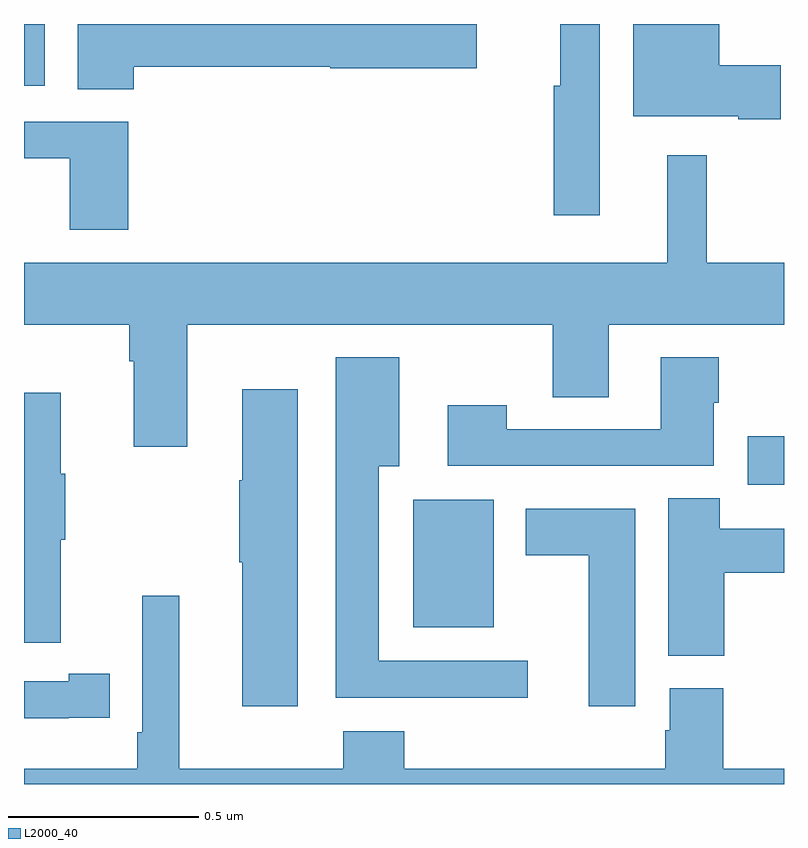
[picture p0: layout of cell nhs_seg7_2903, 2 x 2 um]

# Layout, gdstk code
import gdstk
lib = gdstk.Library(unit=1e-6, precision=1e-09)
def R(c, l, rs):  # rectangles x0, y0, x1, y1
    for r in rs: c.add(gdstk.rectangle(r[:2], r[2:], *l))
def P(c, l, *ps):  # polygons
    for p in ps: c.add(gdstk.Polygon(p, *l))
L2000_40 = (2000, 40)

nhs_seg7_2903 = lib.new_cell('nhs_seg7_2903')
R(nhs_seg7_2903, L2000_40, [(152.024,1074.413,152.236,1074.748), (152.904,1074.788,153,1074.915), (151,1075.838,151.054,1076)])
P(nhs_seg7_2903, L2000_40, [(152.992,1075.892),(152.83,1075.892),(152.83,1076),(152.603,1076),(152.603,1075.757),(152.879,1075.757),(152.879,1075.75),(152.992,1075.75)],
  [(152.515,1076),(152.411,1076),(152.411,1075.838),(152.394,1075.838),(152.394,1075.497),(152.515,1075.497)],
  [(151.289,1075.888),(151.806,1075.888),(151.806,1075.883),(152.191,1075.883),(152.191,1076),(151.142,1076),(151.142,1075.828),(151.289,1075.828)],
  [(151.274,1075.743),(151,1075.743),(151,1075.647),(151.121,1075.647),(151.121,1075.458),(151.274,1075.458)],
  [(151.429,1075.208),(152.392,1075.208),(152.392,1075.018),(152.539,1075.018),(152.539,1075.208),(153,1075.208),(153,1075.372),(152.797,1075.372),(152.797,1075.654),(152.693,1075.654),(152.693,1075.372),(151,1075.372),(151,1075.208),(151.277,1075.208),(151.277,1075.112),(151.289,1075.112),(151.289,1074.888),(151.429,1074.888)],
  [(152.815,1075.003),(152.828,1075.003),(152.828,1075.123),(152.675,1075.123),(152.675,1074.933),(152.271,1074.933),(152.271,1074.997),(152.115,1074.997),(152.115,1074.837),(152.815,1074.837)],
  [(152.326,1074.324),(151.933,1074.324),(151.933,1074.836),(151.987,1074.836),(151.987,1075.123),(151.82,1075.123),(151.82,1074.227),(152.326,1074.227)],
  [(151.72,1075.039),(151.574,1075.039),(151.574,1074.8),(151.567,1074.8),(151.567,1074.583),(151.574,1074.583),(151.574,1074.204),(151.72,1074.204)],
  [(151.097,1074.643),(151.108,1074.643),(151.108,1074.817),(151.097,1074.817),(151.097,1075.03),(151,1075.03),(151,1074.372),(151.097,1074.372)],
  [(152.843,1074.556),(153,1074.556),(153,1074.672),(152.831,1074.672),(152.831,1074.752),(152.696,1074.752),(152.696,1074.337),(152.843,1074.337)],
  [(152.608,1074.724),(152.321,1074.724),(152.321,1074.602),(152.486,1074.602),(152.486,1074.204),(152.608,1074.204)],
  [(153,1074.04),(152.84,1074.04),(152.84,1074.252),(152.699,1074.252),(152.699,1074.141),(152.687,1074.141),(152.687,1074.04),(152,1074.04),(152,1074.139),(151.84,1074.139),(151.84,1074.04),(151.408,1074.04),(151.408,1074.496),(151.311,1074.496),(151.311,1074.136),(151.298,1074.136),(151.298,1074.04),(151,1074.04),(151,1074),(153,1074)],
  [(151.118,1074.174),(151.226,1074.174),(151.226,1074.29),(151.118,1074.29),(151.118,1074.27),(151,1074.27),(151,1074.173),(151.118,1074.173)])

lib.write_gds('nhs_seg7_2903.gds')
